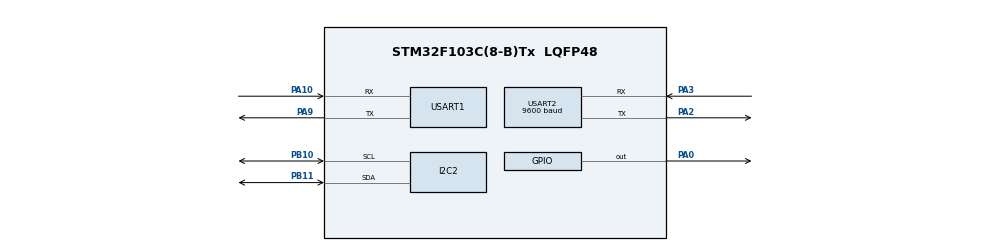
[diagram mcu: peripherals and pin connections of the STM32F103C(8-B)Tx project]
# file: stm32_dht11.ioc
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Mcu.Family=STM32F1
Mcu.Name=STM32F103C(8-B)Tx
Mcu.Package=LQFP48
NVIC.PriorityGroup=NVIC_PRIORITYGROUP_4
NVIC.USART2_IRQn=true\:0\:0\:false\:false\:true\:true\:true\:true
PA0-WKUP.PinState=GPIO_PIN_RESET
PA0-WKUP.Signal=GPIO_Output
PA10.Mode=Asynchronous
PA10.Signal=USART1_RX
PA2.Mode=Asynchronous
PA2.Signal=USART2_TX
PA3.Mode=Asynchronous
PA3.Signal=USART2_RX
PA9.Mode=Asynchronous
PA9.Signal=USART1_TX
PB10.Mode=I2C
PB10.Signal=I2C2_SCL
PB11.Mode=I2C
PB11.Signal=I2C2_SDA
PD0-OSC_IN.Mode=HSE-External-Oscillator
PD0-OSC_IN.Signal=RCC_OSC_IN
PD1-OSC_OUT.Mode=HSE-External-Oscillator
PD1-OSC_OUT.Signal=RCC_OSC_OUT
ProjectManager.HeapSize=0x200
ProjectManager.StackSize=0x400
ProjectManager.TargetToolchain=MDK-ARM V5.32
RCC.APB1Freq_Value=8000000
RCC.APB2Freq_Value=8000000
USART1.VirtualMode=VM_ASYNC
USART2.BaudRate=9600
USART2.VirtualMode=VM_ASYNC
VP_SYS_VS_ND.Mode=No_Debug
board=custom

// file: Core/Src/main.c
/* USER CODE BEGIN Header */
/**
  ******************************************************************************
  * @file           : main.c
  * @brief          : Main program body
  ******************************************************************************
  * @attention
  *
  * Copyright (c) 2026 STMicroelectronics.
  * All rights reserved.
  *
  * This software is licensed under terms that can be found in the LICENSE file
  * in the root directory of this software component.
  * If no LICENSE file comes with this software, it is provided AS-IS.
  *
  ******************************************************************************
  */
/* USER CODE END Header */
#include "main.h"

/* USER CODE BEGIN Includes */
#include "DHT.h"
#include "stdarg.h"
#include "string.h"
/* USER CODE END Includes */

I2C_HandleTypeDef hi2c2;

UART_HandleTypeDef huart1;
UART_HandleTypeDef huart2;

void SystemClock_Config(void);
static void MX_GPIO_Init(void);
static void MX_I2C2_Init(void);
static void MX_USART2_UART_Init(void);
static void MX_USART1_UART_Init(void);
/* USER CODE BEGIN PFP */
char buff[40];
void mPrint(const char* format, ...){
    va_list args;
    va_start(args, format);
    vsnprintf(buff, sizeof(buff), format, args);
    va_end(args);
    HAL_UART_Transmit(&huart1, (uint8_t*)buff, strlen(buff), 1000);

}
/* USER CODE END PFP */

/* USER CODE BEGIN 0 */
DHT_DataTypedef DHT11_Data;
char lora_tx_buffer[50]; // Buffer ch?a d? li?u g?i di

// Các bi?n ph?c v? nh?n l?nh t? Gateway
uint8_t rx_byte;         // Bi?n luu 1 ký t? (byte) v?a nh?n du?c
char rx_buffer[20];      // Buffer ráp các ký t? thành chu?i l?nh (VD: "GET_N1")
uint8_t rx_index = 0;    // V? trí con tr? c?a buffer
uint8_t cmd_ready = 0;   // C? báo hi?u dã nh?n xong m?t l?nh hoàn ch?nh

// Ð?nh danh c?a Node (Ð?i thành 2, 3 khi n?p cho các node khác)
const int NODE_ID = 1;
/* USER CODE END 0 */

int main(void)
{

  /* MCU Configuration--------------------------------------------------------*/

  /* Reset of all peripherals, Initializes the Flash interface and the Systick. */
  HAL_Init();

  /* Configure the system clock */
  SystemClock_Config();

  /* Initialize all configured peripherals */
  MX_GPIO_Init();
  MX_I2C2_Init();
  MX_USART2_UART_Init();
  MX_USART1_UART_Init();
  /* USER CODE BEGIN 2 */
// M? m?i ng?t UART2 l?n d?u tiên
  HAL_UART_Receive_IT(&huart2, &rx_byte, 1);
  mPrint("Node %d is Ready. Listening for Gateway...\r\n", NODE_ID);
  /* USER CODE END 2 */

  /* Infinite loop */
  /* USER CODE BEGIN WHILE */
  while (1)
  {
		// N?u có l?nh g?i d?n t? Gateway
      if (cmd_ready == 1)
      {
          cmd_ready = 0; // T?t c? d? tránh x? lý l?p l?i

          // 1. T?o chu?i l?nh mong d?i (Ví d? Node 1 thì mong l?nh "GET_N1")
          char expected_cmd[10];
          sprintf(expected_cmd, "GET_N%d", NODE_ID);

          // 2. So sánh l?nh nh?n du?c có dúng tên mình không
          if (strstr(rx_buffer, expected_cmd) != NULL)
          {
              mPrint("Gateway goi: %s. Dang doc cam bien...\r\n", rx_buffer);

              // Ð?c c?m bi?n DHT11
              DHT_GetData(&DHT11_Data);

              // Ðóng gói d? li?u và g?i tr? ngay l?p t?c qua UART2 (LoRa)
              int t_i = (int)DHT11_Data.Temperature; int t_d = (int)((DHT11_Data.Temperature - t_i) * 10); int h_i = (int)DHT11_Data.Humidity; int h_d = (int)((DHT11_Data.Humidity - h_i) * 10); if (t_d < 0) t_d = -t_d; if (h_d < 0) h_d = -h_d; sprintf(lora_tx_buffer, "N%d,%d.%d,%d.%d\n", NODE_ID, t_i, t_d, h_i, h_d);
              HAL_UART_Transmit(&huart2, (uint8_t*)lora_tx_buffer, strlen(lora_tx_buffer), 1000);

              mPrint("Da gui: %s\r\n", lora_tx_buffer);
          }
          else
          {
              // N?u Gateway g?i node khác, in log ra d? theo dõi (tùy ch?n)
              mPrint("Bo qua lenh: %s (Khong phai toi)\r\n", rx_buffer);
          }

          // 3. Reset l?i buffer d? chu?n b? dón l?nh ti?p theo
          rx_index = 0;
          memset(rx_buffer, 0, sizeof(rx_buffer));
      }

      // ? du?i này b?n có th? cho STM32 làm các vi?c khác tho?i mái
      // vì vi?c nh?n LoRa dã du?c ng?t x? lý ng?m.
    /* USER CODE END WHILE */

  }
}

void SystemClock_Config(void)
{
  RCC_OscInitTypeDef RCC_OscInitStruct = {0};
  RCC_ClkInitTypeDef RCC_ClkInitStruct = {0};

  /** Initializes the RCC Oscillators according to the specified parameters
  * in the RCC_OscInitTypeDef structure.
  */
  RCC_OscInitStruct.OscillatorType = RCC_OSCILLATORTYPE_HSI;
  RCC_OscInitStruct.HSIState = RCC_HSI_ON;
  RCC_OscInitStruct.HSICalibrationValue = RCC_HSICALIBRATION_DEFAULT;
  RCC_OscInitStruct.PLL.PLLState = RCC_PLL_NONE;
  if (HAL_RCC_OscConfig(&RCC_OscInitStruct) != HAL_OK)
  {
    Error_Handler();
  }

  /** Initializes the CPU, AHB and APB buses clocks
  */
  RCC_ClkInitStruct.ClockType = RCC_CLOCKTYPE_HCLK|RCC_CLOCKTYPE_SYSCLK
                              |RCC_CLOCKTYPE_PCLK1|RCC_CLOCKTYPE_PCLK2;
  RCC_ClkInitStruct.SYSCLKSource = RCC_SYSCLKSOURCE_HSI;
  RCC_ClkInitStruct.AHBCLKDivider = RCC_SYSCLK_DIV1;
  RCC_ClkInitStruct.APB1CLKDivider = RCC_HCLK_DIV1;
  RCC_ClkInitStruct.APB2CLKDivider = RCC_HCLK_DIV1;

  if (HAL_RCC_ClockConfig(&RCC_ClkInitStruct, FLASH_LATENCY_0) != HAL_OK)
  {
    Error_Handler();
  }
}

static void MX_I2C2_Init(void)
{

  hi2c2.Instance = I2C2;
  hi2c2.Init.ClockSpeed = 100000;
  hi2c2.Init.DutyCycle = I2C_DUTYCYCLE_2;
  hi2c2.Init.OwnAddress1 = 0;
  hi2c2.Init.AddressingMode = I2C_ADDRESSINGMODE_7BIT;
  hi2c2.Init.DualAddressMode = I2C_DUALADDRESS_DISABLE;
  hi2c2.Init.OwnAddress2 = 0;
  hi2c2.Init.GeneralCallMode = I2C_GENERALCALL_DISABLE;
  hi2c2.Init.NoStretchMode = I2C_NOSTRETCH_DISABLE;
  if (HAL_I2C_Init(&hi2c2) != HAL_OK)
  {
    Error_Handler();
  }

}

static void MX_USART1_UART_Init(void)
{

  huart1.Instance = USART1;
  huart1.Init.BaudRate = 115200;
  huart1.Init.WordLength = UART_WORDLENGTH_8B;
  huart1.Init.StopBits = UART_STOPBITS_1;
  huart1.Init.Parity = UART_PARITY_NONE;
  huart1.Init.Mode = UART_MODE_TX_RX;
  huart1.Init.HwFlowCtl = UART_HWCONTROL_NONE;
  huart1.Init.OverSampling = UART_OVERSAMPLING_16;
  if (HAL_UART_Init(&huart1) != HAL_OK)
  {
    Error_Handler();
  }

}

static void MX_USART2_UART_Init(void)
{

  huart2.Instance = USART2;
  huart2.Init.BaudRate = 9600;
  huart2.Init.WordLength = UART_WORDLENGTH_8B;
  huart2.Init.StopBits = UART_STOPBITS_1;
  huart2.Init.Parity = UART_PARITY_NONE;
  huart2.Init.Mode = UART_MODE_TX_RX;
  huart2.Init.HwFlowCtl = UART_HWCONTROL_NONE;
  huart2.Init.OverSampling = UART_OVERSAMPLING_16;
  if (HAL_UART_Init(&huart2) != HAL_OK)
  {
    Error_Handler();
  }

}

static void MX_GPIO_Init(void)
{
  GPIO_InitTypeDef GPIO_InitStruct = {0};

  /* GPIO Ports Clock Enable */
  __HAL_RCC_GPIOD_CLK_ENABLE();
  __HAL_RCC_GPIOA_CLK_ENABLE();
  __HAL_RCC_GPIOB_CLK_ENABLE();

  /*Configure GPIO pin Output Level */
  HAL_GPIO_WritePin(GPIOA, GPIO_PIN_0, GPIO_PIN_RESET);

  /*Configure GPIO pin : PA0 */
  GPIO_InitStruct.Pin = GPIO_PIN_0;
  GPIO_InitStruct.Mode = GPIO_MODE_OUTPUT_PP;
  GPIO_InitStruct.Pull = GPIO_NOPULL;
  GPIO_InitStruct.Speed = GPIO_SPEED_FREQ_LOW;
  HAL_GPIO_Init(GPIOA, &GPIO_InitStruct);

}

/* USER CODE BEGIN 4 */
void HAL_UART_RxCpltCallback(UART_HandleTypeDef *huart)
{
    if (huart->Instance == USART2)
    {
        // N?u ký t? nh?n du?c khác ký t? xu?ng dòng (\n ho?c \r)
        if (rx_byte != '\n' && rx_byte != '\r')
        {
            rx_buffer[rx_index++] = rx_byte; // Luu vào chu?i
            if (rx_index >= 20) rx_index = 0; // Ch?ng tràn b? nh?
        }
        // N?u g?p ký t? xu?ng dòng (Gateway g?i xong 1 l?nh)
        else if (rx_index > 0)
        {
            rx_buffer[rx_index] = '\0'; // Ch?t chu?i l?nh (null-terminated)
            cmd_ready = 1;              // B?t c? báo cho hàm main bi?t
        }

        // Kích ho?t l?i ng?t d? ti?p t?c l?ng nghe byte ti?p theo
        HAL_UART_Receive_IT(&huart2, &rx_byte, 1);
    }
}
/* USER CODE END 4 */

void Error_Handler(void)
{
  __disable_irq();
  while (1)
  {
  }
}
